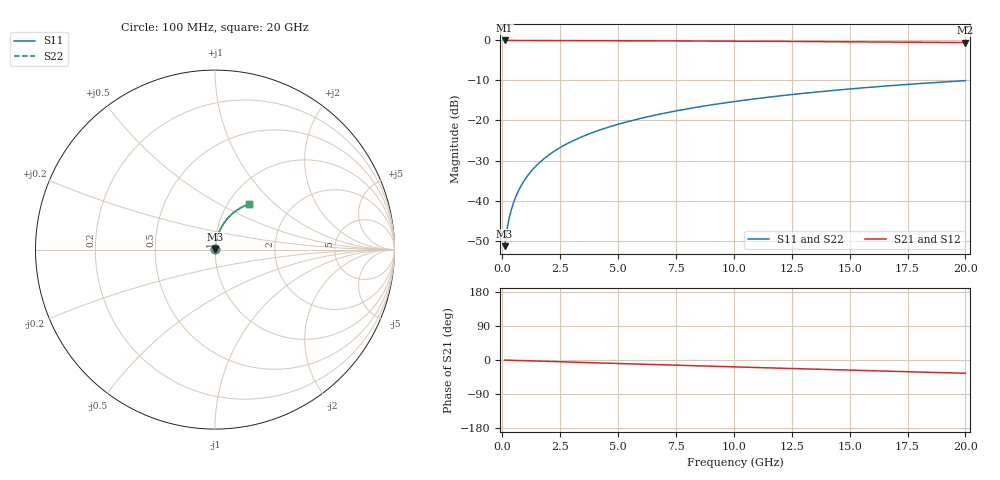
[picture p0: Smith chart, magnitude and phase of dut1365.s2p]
! Touchstone file exported from HFSS 2026.1.0
!  File:  C:/ffzhzh/LocalFiles/Ansys_Project_Files/temp_train_BSMRDL_1365_1783179273_22436.aedt
!  Generated:  11:35:52 PM Jul  4, 2026
!  Design:  BSMRDL
!  Project:  temp_train_BSMRDL_1365_1783179273_22436
! Variables:
!  h_bsmrdl = 5.41um
!  h_ox = 20um
!  h_rdl = 5um
!  h_sub = 80um
!  h_tmrdl = 5um
!  h_tsv = 80um
!  h_via = 3um
!  l_bsmrdl = 513.62um
!  l_sub = 913.62um
!  l_tmrdl = 200um
!  m_sub = 200um
!  pitch = 45.83um
!  r_tsv = 6um
!  s_tmrdl = 10um
!  w_bsmrdl = 20.28um
!  w_sub = 500um
!  w_tmrdl = 12um
!  x_tsv_center1 = 206um
!  x_tsv_center2 = 739.9um
!  x_tsv_center3 = 951.9um
!  x_tsv_center4 = 1485.8um
!  x_tsv_center5 = 1697.8um
!  x_tsv_center6 = 2231.7um
# GHz S MA R 50.000000
! Terminal data exported
! Port[1] = BSM_RDL1_1_T1
! Port[2] = BSM_RDL1_1_T2
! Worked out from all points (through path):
!   200 points, 100 MHz to 20 GHz, reference 50 ohm
!   highest |S21| = -0.02 dB at 100 MHz (marker M1); lowest = -0.5 dB at 20 GHz (marker M2)
!   group delay of S21, straight-line fit = 4.86 ps
!   lowest |S11| = -51.4 dB at 100 MHz (marker M3), VSWR 1.01, Z = 50.2 + j0.2 ohm
!   |S11| at or under -10 dB: start of sweep to end of sweep
!   |S22| runs from -51.4 to -10.1 dB; largest |S21 - S12| = 2.7e-15
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0.1  0.002696 47.7  0.9982 -0.2  0.9982 -0.2  0.002696 47.7
! Gamma 0 0 0 0
! Port Impedance 50 0 50 0
0.2  0.004353 63.5  0.9981 -0.4  0.9981 -0.4  0.004353 63.5
0.3  0.006096 70.2  0.998 -0.6  0.998 -0.6  0.006096 70.2
0.4  0.007868 74.0  0.9979 -0.8  0.9979 -0.8  0.007868 74.0
0.5  0.00966 76.4  0.9978 -0.9  0.9978 -0.9  0.00966 76.4
0.7  0.01328 79.2  0.9977 -1.3  0.9977 -1.3  0.01328 79.2
0.8  0.0151 80.0  0.9977 -1.5  0.9977 -1.5  0.0151 80.0
1  0.01875 81.0  0.9975 -1.9  0.9975 -1.9  0.01875 81.0
1.2  0.02241 81.6  0.9974 -2.3  0.9974 -2.3  0.02241 81.6
1.4  0.02606 81.9  0.9972 -2.6  0.9972 -2.6  0.02606 81.9
1.7  0.03152 82.0  0.9968 -3.2  0.9968 -3.2  0.03152 82.0
2  0.03695 81.8  0.9965 -3.8  0.9965 -3.8  0.03695 81.8
2.7  0.04952 81.1  0.9955 -5.0  0.9955 -5.0  0.04952 81.1
3.5  0.06366 80.0  0.9941 -6.5  0.9941 -6.5  0.06366 80.0
4.2  0.07586 78.9  0.9928 -7.8  0.9928 -7.8  0.07586 78.9
5  0.08963 77.7  0.9912 -9.2  0.9912 -9.2  0.08963 77.7
6.8  0.12 74.8  0.987 -12.5  0.987 -12.5  0.12 74.8
8.3  0.1447 72.3  0.9831 -15.1  0.9831 -15.1  0.1447 72.3
10.1  0.1736 69.4  0.9778 -18.3  0.9778 -18.3  0.1736 69.4
13.4  0.2242 64.0  0.9666 -24.0  0.9666 -24.0  0.2242 64.0
16.7  0.2712 58.6  0.9539 -29.6  0.9539 -29.6  0.2712 58.6
20  0.3144 53.3  0.9401 -35.0  0.9401 -35.0  0.3144 53.4
